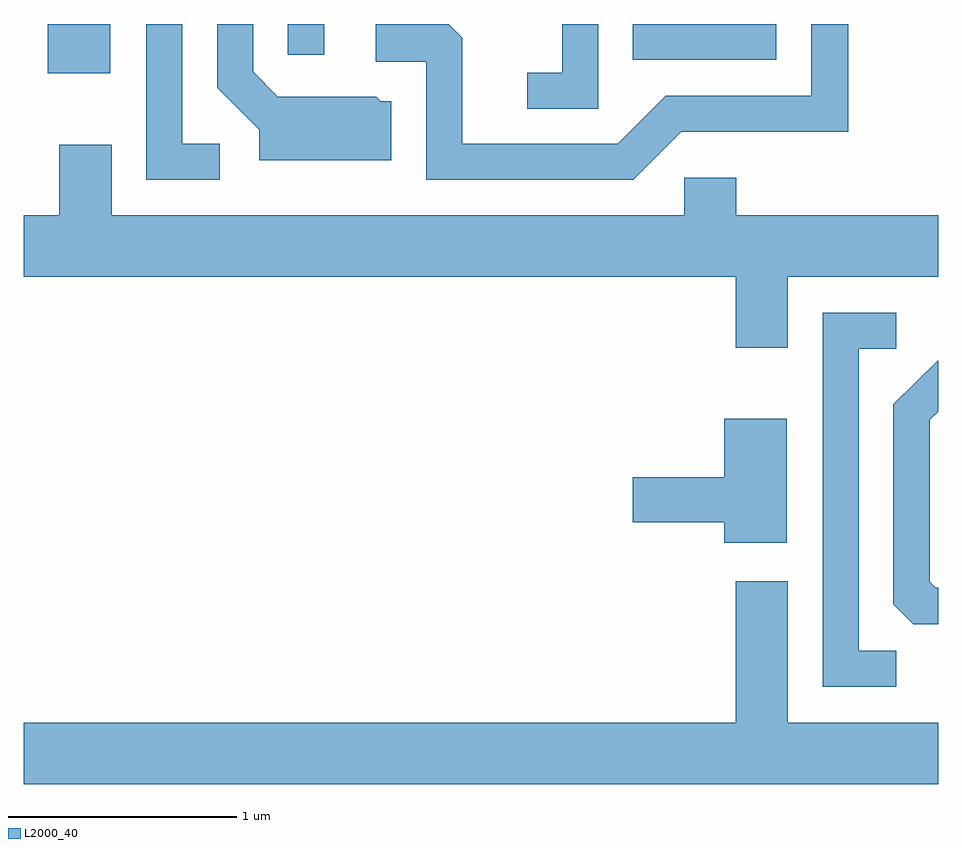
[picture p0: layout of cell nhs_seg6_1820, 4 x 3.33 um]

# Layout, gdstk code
import gdstk
lib = gdstk.Library(unit=1e-6, precision=1e-09)
def R(c, l, rs):  # rectangles x0, y0, x1, y1
    for r in rs: c.add(gdstk.rectangle(r[:2], r[2:], *l))
def P(c, l, *ps):  # polygons
    for p in ps: c.add(gdstk.Polygon(p, *l))
L2000_40 = (2000, 40)

nhs_seg6_1820 = lib.new_cell('nhs_seg6_1820')
R(nhs_seg6_1820, L2000_40, [(239.716,1641.946,239.989,1642.162), (242.276,1642.006,242.904,1642.162), (240.766,1642.028,240.924,1642.162)])
P(nhs_seg6_1820, L2000_40, [(241.219,1641.824),(241.172,1641.824),(241.152,1641.844),(240.722,1641.844),(240.614,1641.952),(240.614,1642.162),(240.456,1642.162),(240.456,1641.884),(240.641,1641.699),(240.641,1641.566),(241.219,1641.566)],
  [(242.487,1641.691),(243.219,1641.691),(243.219,1642.162),(243.056,1642.162),(243.056,1641.849),(242.419,1641.849),(242.209,1641.639),(241.529,1641.639),(241.529,1642.102),(241.469,1642.162),(241.151,1642.162),(241.151,1641.996),(241.371,1641.996),(241.371,1641.481),(242.277,1641.481)],
  [(240.468,1641.639),(240.304,1641.639),(240.304,1642.162),(240.146,1642.162),(240.146,1641.481),(240.468,1641.481)],
  [(242.124,1642.162),(241.966,1642.162),(241.966,1641.949),(241.813,1641.949),(241.813,1641.791),(242.124,1641.791)],
  [(242.954,1641.056),(243.611,1641.056),(243.611,1641.324),(242.729,1641.324),(242.729,1641.489),(242.501,1641.489),(242.501,1641.324),(239.994,1641.324),(239.994,1641.634),(239.766,1641.634),(239.766,1641.324),(239.611,1641.324),(239.611,1641.056),(242.726,1641.056),(242.726,1640.746),(242.954,1640.746)],
  [(243.428,1639.419),(243.264,1639.419),(243.264,1640.741),(243.428,1640.741),(243.428,1640.899),(243.106,1640.899),(243.106,1639.261),(243.428,1639.261)],
  [(243.611,1639.694),(243.602,1639.694),(243.574,1639.722),(243.574,1640.429),(243.611,1640.466),(243.611,1640.691),(243.416,1640.497),(243.416,1639.622),(243.502,1639.536),(243.611,1639.536)],
  [(242.949,1640.434),(242.676,1640.434),(242.676,1640.179),(242.276,1640.179),(242.276,1639.981),(242.676,1639.981),(242.676,1639.891),(242.949,1639.891)],
  [(243.611,1639.104),(242.954,1639.104),(242.954,1639.724),(242.726,1639.724),(242.726,1639.104),(239.611,1639.104),(239.611,1638.836),(243.611,1638.836)])

lib.write_gds('nhs_seg6_1820.gds')
